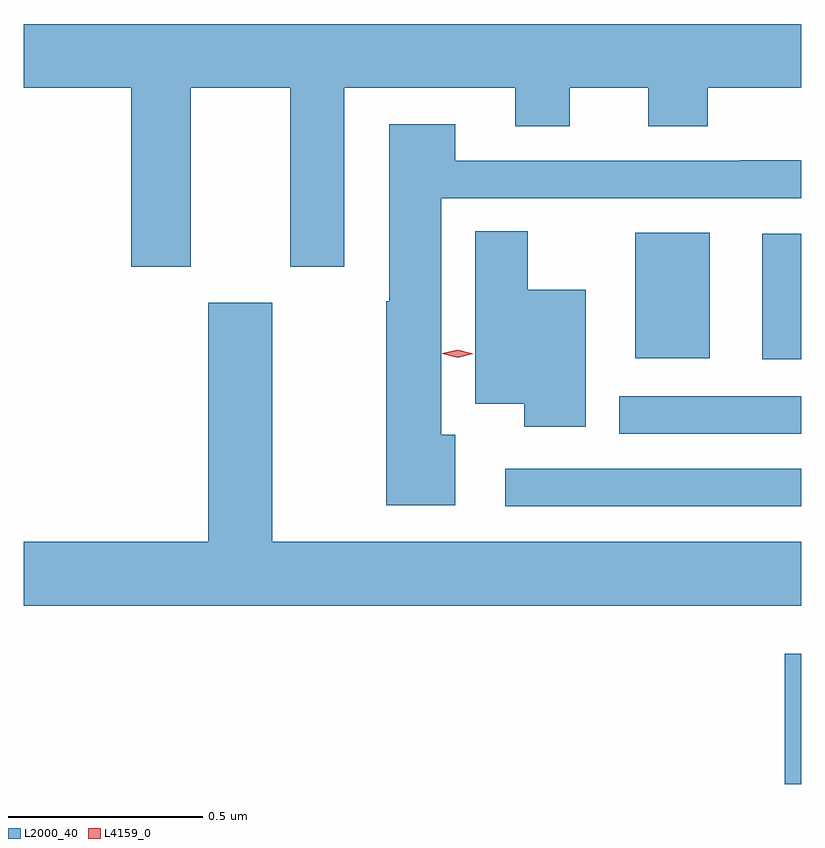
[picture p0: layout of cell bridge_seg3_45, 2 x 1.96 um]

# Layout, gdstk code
import gdstk
lib = gdstk.Library(unit=1e-6, precision=1e-09)
def R(c, l, rs):  # rectangles x0, y0, x1, y1
    for r in rs: c.add(gdstk.rectangle(r[:2], r[2:], *l))
def P(c, l, *ps):  # polygons
    for p in ps: c.add(gdstk.Polygon(p, *l))
L2000_40 = (2000, 40)
L4159_0 = (4159, 0)

bridge_seg3_45 = lib.new_cell('bridge_seg3_45')
R(bridge_seg3_45, L2000_40, [(662.106,680.477,662.148,680.812), (661.386,681.192,662.148,681.288), (661.68,681.378,662.148,681.474), (662.048,681.569,662.148,681.892), (661.721,681.572,661.912,681.895)])
P(bridge_seg3_45, L2000_40, [(660.577,682.268),(660.833,682.268),(660.833,681.807),(660.973,681.807),(660.973,682.268),(661.412,682.268),(661.412,682.169),(661.552,682.169),(661.552,682.268),(661.754,682.268),(661.754,682.169),(661.907,682.169),(661.907,682.268),(662.148,682.268),(662.148,682.432),(660.148,682.432),(660.148,682.268),(660.425,682.268),(660.425,681.807),(660.577,681.807)],
  [(661.258,681.376),(661.222,681.376),(661.222,681.984),(662.148,681.984),(662.148,682.082),(661.99,682.082),(661.99,682.08),(661.258,682.08),(661.258,682.174),(661.088,682.174),(661.088,681.719),(661.081,681.719),(661.081,681.194),(661.258,681.194)],
  [(661.594,681.748),(661.444,681.748),(661.444,681.899),(661.31,681.899),(661.31,681.455),(661.436,681.455),(661.436,681.396),(661.594,681.396)],
  [(662.148,681.1),(660.787,681.1),(660.787,681.715),(660.623,681.715),(660.623,681.1),(660.148,681.1),(660.148,680.936),(662.148,680.936)])
P(bridge_seg3_45, L4159_0, [(661.264,681.574),(661.225,681.584),(661.225,681.585),(661.225,681.585),(661.265,681.594),(661.304,681.584),(661.304,681.584),(661.304,681.584)])

lib.write_gds('bridge_seg3_45.gds')
